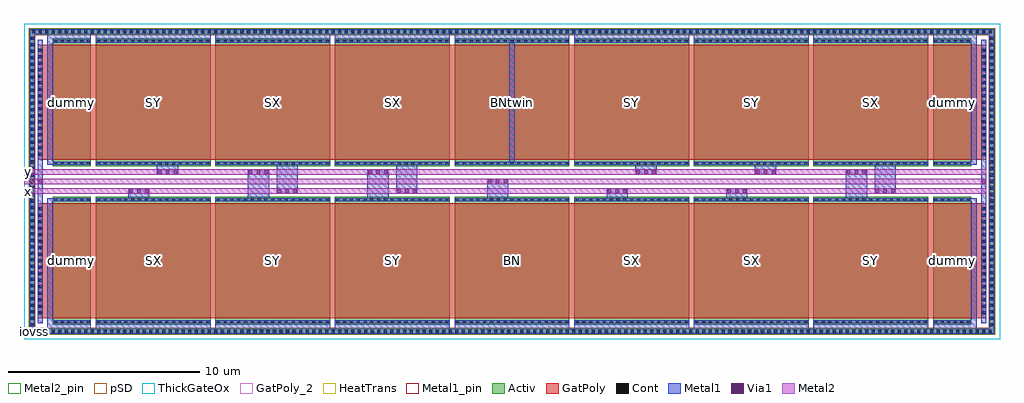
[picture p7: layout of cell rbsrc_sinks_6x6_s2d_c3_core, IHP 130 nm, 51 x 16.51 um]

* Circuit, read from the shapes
.subckt rbsrc_sinks_6x6_s2d_c3_core iovss vbn x y
XM1 iovss vbn iovss iovss sg13_hv_nmos w=2u l=6u m=4
XM2 x vbn iovss iovss sg13_hv_nmos w=6u l=6u m=6
XM3 iovss vbn y iovss sg13_hv_nmos w=6u l=6u m=6
XM4 vbn vbn iovss iovss sg13_hv_nmos w=6u l=6u
XM5 iovss vbn iovss iovss sg13_hv_nmos w=6u l=6u
.ends

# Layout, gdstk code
from math import pi, radians
import gdstk
lib = gdstk.Library(unit=1e-6, precision=1e-09)
def R(c, l, rs):  # rectangles x0, y0, x1, y1
    for r in rs: c.add(gdstk.rectangle(r[:2], r[2:], *l))
def A(c, l, x, y, w, h, nx, ny, dx, dy):  # array of equal rectangles
    R(c, l, [(x+i*dx, y+j*dy, x+i*dx+w, y+j*dy+h) for i in range(nx) for j in range(ny)])
Activ = (1, 0)
GatPoly = (5, 0)
GatPoly_2 = (5, 2)
Cont = (6, 0)
Metal1 = (8, 0)
Metal1_pin = (8, 2)
Metal2 = (10, 0)
Metal2_pin = (10, 2)
pSD = (14, 0)
Via1 = (19, 0)
ThickGateOx = (44, 0)
HeatTrans = (51, 0)

rbsrc_nhv_w6_l6 = lib.new_cell('rbsrc_nhv_w6_l6')
R(rbsrc_nhv_w6_l6, Activ, [(0,0,0.3,0.3), (0,0,6.68,6), (6.38,0,6.68,0.3)])
R(rbsrc_nhv_w6_l6, GatPoly, [(0.34,-0.18,6.34,6.18)])
R(rbsrc_nhv_w6_l6, GatPoly_2, [(0.34,-0.18,6.34,6.18)])
A(rbsrc_nhv_w6_l6, Cont, 0.07, 0.07, 0.16, 0.16, 1, 4, 0, 0.355)
A(rbsrc_nhv_w6_l6, Cont, 6.45, 0.07, 0.16, 0.16, 1, 4, 0, 0.355)
A(rbsrc_nhv_w6_l6, Cont, 0.07, 1.495, 0.16, 0.16, 1, 4, 0, 0.355)
A(rbsrc_nhv_w6_l6, Cont, 6.45, 1.495, 0.16, 0.16, 1, 4, 0, 0.355)
A(rbsrc_nhv_w6_l6, Cont, 0.07, 2.92, 0.16, 0.16, 1, 4, 0, 0.355)
A(rbsrc_nhv_w6_l6, Cont, 6.45, 2.92, 0.16, 0.16, 1, 4, 0, 0.355)
A(rbsrc_nhv_w6_l6, Cont, 0.07, 4.345, 0.16, 0.16, 1, 4, 0, 0.355)
A(rbsrc_nhv_w6_l6, Cont, 6.45, 4.345, 0.16, 0.16, 1, 4, 0, 0.355)
R(rbsrc_nhv_w6_l6, Cont, [(0.07,5.77,0.23,5.93), (6.45,5.77,6.61,5.93)])
R(rbsrc_nhv_w6_l6, Metal1, [(0.07,0,0.23,6), (6.45,0,6.61,6)])
R(rbsrc_nhv_w6_l6, Metal1_pin, [(0.07,0,0.23,6), (6.45,0,6.61,6)])
R(rbsrc_nhv_w6_l6, ThickGateOx, [(-0.27,-0.52,6.95,6.52)])
R(rbsrc_nhv_w6_l6, HeatTrans, [(0.34,-0.18,6.34,6.18)])
rbsrc_nhv_w6_l6.add(gdstk.Label('nmosHV', (3.34,3), layer=63, texttype=0))
rbsrc_nhv_w6_l6.add(gdstk.Label('nmosHV', (3.34,3), layer=51, texttype=0))

rbsrc_nhv_w2_l6 = lib.new_cell('rbsrc_nhv_w2_l6')
R(rbsrc_nhv_w2_l6, Activ, [(0,0,0.3,0.3), (0,0,6.68,2), (6.38,0,6.68,0.3)])
R(rbsrc_nhv_w2_l6, GatPoly, [(0.34,-0.18,6.34,2.18)])
R(rbsrc_nhv_w2_l6, GatPoly_2, [(0.34,-0.18,6.34,2.18)])
A(rbsrc_nhv_w2_l6, Cont, 0.07, 0.07, 0.16, 0.16, 1, 6, 0, 0.34)
A(rbsrc_nhv_w2_l6, Cont, 6.45, 0.07, 0.16, 0.16, 1, 6, 0, 0.34)
R(rbsrc_nhv_w2_l6, Metal1, [(0.07,0,0.23,2), (6.45,0,6.61,2)])
R(rbsrc_nhv_w2_l6, Metal1_pin, [(0.07,0,0.23,2), (6.45,0,6.61,2)])
R(rbsrc_nhv_w2_l6, ThickGateOx, [(-0.27,-0.52,6.95,2.52)])
R(rbsrc_nhv_w2_l6, HeatTrans, [(0.34,-0.18,6.34,2.18)])
rbsrc_nhv_w2_l6.add(gdstk.Label('nmosHV', (3.34,1), layer=63, texttype=0))
rbsrc_nhv_w2_l6.add(gdstk.Label('nmosHV', (3.34,1), layer=51, texttype=0))

rbsrc_sinks_6x6_s2d_c3_c = lib.new_cell('rbsrc_sinks_6x6_s2d_c3_core')
R(rbsrc_sinks_6x6_s2d_c3_c, Activ, [(-1.23,-0.51,49.23,-0.21), (-1.23,-0.51,-0.93,15.46), (48.93,-0.51,49.23,15.46), (-1.23,15.16,49.23,15.46)])
R(rbsrc_sinks_6x6_s2d_c3_c, GatPoly, [(-0.79,0.34,-0.1,6.34), (48.1,0.34,48.79,6.34), (-0.79,8.61,-0.1,14.61), (48.1,8.61,48.79,14.61)])
A(rbsrc_sinks_6x6_s2d_c3_c, Cont, -1.07, -0.44, 0.16, 0.16, 148, 2, 0.34, 15.67)
A(rbsrc_sinks_6x6_s2d_c3_c, Cont, -1.16, -0.085, 0.16, 0.16, 1, 45, 0, 0.34)
A(rbsrc_sinks_6x6_s2d_c3_c, Cont, 49, -0.085, 0.16, 0.16, 1, 45, 0, 0.34)
A(rbsrc_sinks_6x6_s2d_c3_c, Cont, -0.72, 0.54, 0.16, 0.16, 1, 17, 0, 0.34)
A(rbsrc_sinks_6x6_s2d_c3_c, Cont, 48.56, 0.54, 0.16, 0.16, 1, 17, 0, 0.34)
A(rbsrc_sinks_6x6_s2d_c3_c, Cont, -0.72, 8.81, 0.16, 0.16, 1, 17, 0, 0.34)
A(rbsrc_sinks_6x6_s2d_c3_c, Cont, 48.56, 8.81, 0.16, 0.16, 1, 17, 0, 0.34)
A(rbsrc_sinks_6x6_s2d_c3_c, Metal1, 2.25, -0.23, 6, 0.46, 7, 2, 6.25, 14.95)
R(rbsrc_sinks_6x6_s2d_c3_c, Metal1, [(-1.21,-0.49,49.21,-0.23), (-1.21,-0.49,-0.95,15.44), (48.95,-0.49,49.21,15.44), (-0.29,-0.23,0,6.61), (0,-0.23,2,0.23), (46,-0.23,48,0.23), (48,-0.23,48.29,6.61), (-0.77,0.07,-0.51,14.88), (48.51,0.07,48.77,14.88), (3.945,6.45,5.055,7.12), (10.195,6.45,11.305,8.12), (16.445,6.45,17.555,8.12), (22.695,6.45,23.805,7.62), (28.945,6.45,30.055,7.12), (35.195,6.45,36.305,7.12), (41.445,6.45,42.555,8.12), (11.695,6.83,12.805,8.5), (17.945,6.83,19.055,8.5), (42.945,6.83,44.055,8.5), (5.445,7.83,6.555,8.5), (30.445,7.83,31.555,8.5), (36.695,7.83,37.805,8.5), (-0.29,8.34,0,15.18), (23.855,8.34,24.145,14.88), (48,8.34,48.29,15.18), (0,14.72,2,15.18), (46,14.72,48,15.18), (-1.21,15.18,49.21,15.44)])
R(rbsrc_sinks_6x6_s2d_c3_c, Metal1_pin, [(-1.21,-0.49,-0.71,-0.23)])
A(rbsrc_sinks_6x6_s2d_c3_c, Metal2, -1.5, 6.83, 50.285, 0.29, 1, 3, 0, 0.5)
A(rbsrc_sinks_6x6_s2d_c3_c, Metal2_pin, -1.5, 6.83, 0.5, 0.29, 1, 3, 0, 0.5)
R(rbsrc_sinks_6x6_s2d_c3_c, pSD, [(-1.26,-0.54,49.26,-0.18), (-1.26,-0.54,-0.9,15.49), (48.9,-0.54,49.26,15.49), (-1.26,15.13,49.26,15.49)])
A(rbsrc_sinks_6x6_s2d_c3_c, Via1, 3.995, 6.88, 0.19, 0.19, 3, 1, 0.41, 0)
A(rbsrc_sinks_6x6_s2d_c3_c, Via1, 11.745, 6.88, 0.19, 0.19, 3, 1, 0.41, 0)
A(rbsrc_sinks_6x6_s2d_c3_c, Via1, 17.995, 6.88, 0.19, 0.19, 3, 1, 0.41, 0)
A(rbsrc_sinks_6x6_s2d_c3_c, Via1, 28.995, 6.88, 0.19, 0.19, 3, 1, 0.41, 0)
A(rbsrc_sinks_6x6_s2d_c3_c, Via1, 35.245, 6.88, 0.19, 0.19, 3, 1, 0.41, 0)
A(rbsrc_sinks_6x6_s2d_c3_c, Via1, 42.995, 6.88, 0.19, 0.19, 3, 1, 0.41, 0)
A(rbsrc_sinks_6x6_s2d_c3_c, Via1, 22.745, 7.38, 0.19, 0.19, 3, 1, 0.41, 0)
A(rbsrc_sinks_6x6_s2d_c3_c, Via1, 5.495, 7.88, 0.19, 0.19, 3, 1, 0.41, 0)
A(rbsrc_sinks_6x6_s2d_c3_c, Via1, 10.245, 7.88, 0.19, 0.19, 3, 1, 0.41, 0)
A(rbsrc_sinks_6x6_s2d_c3_c, Via1, 16.495, 7.88, 0.19, 0.19, 3, 1, 0.41, 0)
A(rbsrc_sinks_6x6_s2d_c3_c, Via1, 30.495, 7.88, 0.19, 0.19, 3, 1, 0.41, 0)
A(rbsrc_sinks_6x6_s2d_c3_c, Via1, 36.745, 7.88, 0.19, 0.19, 3, 1, 0.41, 0)
A(rbsrc_sinks_6x6_s2d_c3_c, Via1, 41.495, 7.88, 0.19, 0.19, 3, 1, 0.41, 0)
R(rbsrc_sinks_6x6_s2d_c3_c, Via1, [(-0.735,7.38,-0.545,7.57), (48.545,7.38,48.735,7.57)])
R(rbsrc_sinks_6x6_s2d_c3_c, ThickGateOx, [(-1.5,-0.78,49.5,15.73)])
rbsrc_sinks_6x6_s2d_c3_c.add(gdstk.Reference(rbsrc_nhv_w6_l6, (2.25,6.68), rotation=3*pi/2))
rbsrc_sinks_6x6_s2d_c3_c.add(gdstk.Reference(rbsrc_nhv_w6_l6, (8.5,6.68), rotation=3*pi/2))
rbsrc_sinks_6x6_s2d_c3_c.add(gdstk.Reference(rbsrc_nhv_w6_l6, (14.75,6.68), rotation=3*pi/2))
rbsrc_sinks_6x6_s2d_c3_c.add(gdstk.Reference(rbsrc_nhv_w6_l6, (21,6.68), rotation=3*pi/2))
rbsrc_sinks_6x6_s2d_c3_c.add(gdstk.Reference(rbsrc_nhv_w6_l6, (2.25,14.95), rotation=3*pi/2))
rbsrc_sinks_6x6_s2d_c3_c.add(gdstk.Reference(rbsrc_nhv_w6_l6, (8.5,14.95), rotation=3*pi/2))
rbsrc_sinks_6x6_s2d_c3_c.add(gdstk.Reference(rbsrc_nhv_w6_l6, (14.75,14.95), rotation=3*pi/2))
rbsrc_sinks_6x6_s2d_c3_c.add(gdstk.Reference(rbsrc_nhv_w6_l6, (21,14.95), rotation=3*pi/2))
rbsrc_sinks_6x6_s2d_c3_c.add(gdstk.Reference(rbsrc_nhv_w6_l6, (33.25,6.68), rotation=3*pi/2, x_reflection=True))
rbsrc_sinks_6x6_s2d_c3_c.add(gdstk.Reference(rbsrc_nhv_w6_l6, (39.5,6.68), rotation=3*pi/2, x_reflection=True))
rbsrc_sinks_6x6_s2d_c3_c.add(gdstk.Reference(rbsrc_nhv_w6_l6, (45.75,6.68), rotation=3*pi/2, x_reflection=True))
rbsrc_sinks_6x6_s2d_c3_c.add(gdstk.Reference(rbsrc_nhv_w6_l6, (45.75,14.95), rotation=3*pi/2, x_reflection=True))
rbsrc_sinks_6x6_s2d_c3_c.add(gdstk.Reference(rbsrc_nhv_w6_l6, (39.5,14.95), rotation=3*pi/2, x_reflection=True))
rbsrc_sinks_6x6_s2d_c3_c.add(gdstk.Reference(rbsrc_nhv_w6_l6, (33.25,14.95), rotation=3*pi/2, x_reflection=True))
rbsrc_sinks_6x6_s2d_c3_c.add(gdstk.Reference(rbsrc_nhv_w2_l6, (0,14.95), rotation=3*pi/2))
rbsrc_sinks_6x6_s2d_c3_c.add(gdstk.Reference(rbsrc_nhv_w2_l6, (0,6.68), rotation=3*pi/2))
rbsrc_sinks_6x6_s2d_c3_c.add(gdstk.Reference(rbsrc_nhv_w2_l6, (48,6.68), rotation=3*pi/2, x_reflection=True))
rbsrc_sinks_6x6_s2d_c3_c.add(gdstk.Reference(rbsrc_nhv_w2_l6, (48,14.95), rotation=3*pi/2, x_reflection=True))
rbsrc_sinks_6x6_s2d_c3_c.add(gdstk.Label('dummy', (1,3.34), layer=63, texttype=0))
rbsrc_sinks_6x6_s2d_c3_c.add(gdstk.Label('SX', (5.25,3.34), layer=63, texttype=0))
rbsrc_sinks_6x6_s2d_c3_c.add(gdstk.Label('SY', (11.5,3.34), layer=63, texttype=0))
rbsrc_sinks_6x6_s2d_c3_c.add(gdstk.Label('SY', (17.75,3.34), layer=63, texttype=0))
rbsrc_sinks_6x6_s2d_c3_c.add(gdstk.Label('BN', (24,3.34), layer=63, texttype=0))
rbsrc_sinks_6x6_s2d_c3_c.add(gdstk.Label('SX', (30.25,3.34), layer=63, texttype=0))
rbsrc_sinks_6x6_s2d_c3_c.add(gdstk.Label('SX', (36.5,3.34), layer=63, texttype=0))
rbsrc_sinks_6x6_s2d_c3_c.add(gdstk.Label('SY', (42.75,3.34), layer=63, texttype=0))
rbsrc_sinks_6x6_s2d_c3_c.add(gdstk.Label('dummy', (47,3.34), layer=63, texttype=0))
rbsrc_sinks_6x6_s2d_c3_c.add(gdstk.Label('dummy', (1,11.61), layer=63, texttype=0))
rbsrc_sinks_6x6_s2d_c3_c.add(gdstk.Label('SY', (5.25,11.61), layer=63, texttype=0))
rbsrc_sinks_6x6_s2d_c3_c.add(gdstk.Label('SX', (11.5,11.61), layer=63, texttype=0))
rbsrc_sinks_6x6_s2d_c3_c.add(gdstk.Label('SX', (17.75,11.61), layer=63, texttype=0))
rbsrc_sinks_6x6_s2d_c3_c.add(gdstk.Label('BNtwin', (24,11.61), layer=63, texttype=0))
rbsrc_sinks_6x6_s2d_c3_c.add(gdstk.Label('SY', (30.25,11.61), layer=63, texttype=0))
rbsrc_sinks_6x6_s2d_c3_c.add(gdstk.Label('SY', (36.5,11.61), layer=63, texttype=0))
rbsrc_sinks_6x6_s2d_c3_c.add(gdstk.Label('SX', (42.75,11.61), layer=63, texttype=0))
rbsrc_sinks_6x6_s2d_c3_c.add(gdstk.Label('dummy', (47,11.61), layer=63, texttype=0))
rbsrc_sinks_6x6_s2d_c3_c.add(gdstk.Label('iovss', (-0.96,-0.36), layer=8, texttype=25))
rbsrc_sinks_6x6_s2d_c3_c.add(gdstk.Label('x', (-1.25,6.975), layer=10, texttype=25))
rbsrc_sinks_6x6_s2d_c3_c.add(gdstk.Label('vbn', (-1.25,7.475), layer=10, texttype=25))
rbsrc_sinks_6x6_s2d_c3_c.add(gdstk.Label('y', (-1.25,7.975), layer=10, texttype=25))

lib.write_gds('rbsrc_sinks_6x6_s2d_c3_core.gds')
